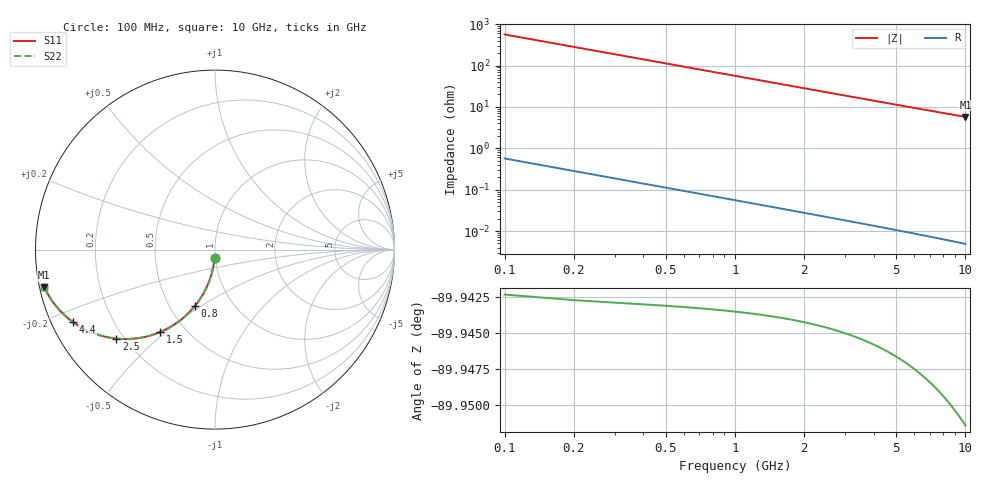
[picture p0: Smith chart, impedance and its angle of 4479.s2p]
# Hz S RI R 50.00
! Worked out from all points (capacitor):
!   100 points, 100 MHz to 10 GHz, reference 50 ohm
!   read as one part in shunt: C = 2.82 pF near 100 MHz
!   lowest |Z| = 5.76 ohm at 10 GHz (marker M1)
!   S11 on the Smith chart (normalised r, x): 100 MHz: 0.99, -0.09; 800 MHz: 0.67, -0.47; 1.5 GHz: 0.36, -0.48; 2.5 GHz: 0.17, -0.37; 4.4 GHz: 0.06, -0.24; 10 GHz: 0.01, -0.11
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1e8  -0.00196 -0.0441  0.998 -0.0442  0.998 -0.0442  -0.00196 -0.0441
2e8  -0.00783 -0.0877  0.9921 -0.0879  0.9921 -0.0879  -0.00783 -0.0877
3e8  -0.0174 -0.1303  0.9825 -0.1306  0.9825 -0.1306  -0.0174 -0.1303
4e8  -0.0305 -0.1714  0.9694 -0.1718  0.9694 -0.1718  -0.0305 -0.1714
5e8  -0.0468 -0.2106  0.9531 -0.2111  0.9531 -0.2111  -0.0468 -0.2106
6e8  -0.0661 -0.2477  0.9339 -0.2482  0.9339 -0.2482  -0.0661 -0.2477
8e8  -0.1116 -0.3141  0.8883 -0.3148  0.8883 -0.3148  -0.1116 -0.3141
9e8  -0.1372 -0.3431  0.8628 -0.344  0.8628 -0.344  -0.1372 -0.3431
1.1e9  -0.1918 -0.3927  0.8081 -0.3938  0.8081 -0.3938  -0.1918 -0.3927
1.3e9  -0.2489 -0.4313  0.751 -0.4325  0.751 -0.4325  -0.2489 -0.4313
1.5e9  -0.306 -0.4596  0.6939 -0.4611  0.6939 -0.4611  -0.306 -0.4596
1.8e9  -0.3883 -0.486  0.6116 -0.4877  0.6116 -0.4877  -0.3883 -0.486
2.1e9  -0.4634 -0.4971  0.5365 -0.4992  0.5365 -0.4992  -0.4634 -0.4971
2.5e9  -0.5503 -0.4957  0.4497 -0.4982  0.4497 -0.4982  -0.5503 -0.4957
2.9e9  -0.622 -0.483  0.3779 -0.4858  0.3779 -0.4858  -0.622 -0.483
3.4e9  -0.6934 -0.4589  0.3066 -0.4622  0.3066 -0.4622  -0.6934 -0.4589
3.9e9  -0.7484 -0.4315  0.2515 -0.4353  0.2515 -0.4353  -0.7484 -0.4315
4.4e9  -0.791 -0.4039  0.2089 -0.4082  0.2089 -0.4082  -0.791 -0.4039
5.1e9  -0.8356 -0.3676  0.1643 -0.3726  0.1643 -0.3726  -0.8356 -0.3676
6.7e9  -0.8976 -0.2992  0.1022 -0.3058  0.1022 -0.3058  -0.8976 -0.2992
8.4e9  -0.9324 -0.2463  0.0675 -0.2546  0.0675 -0.2546  -0.9324 -0.2463
1e10  -0.9514 -0.2095  0.0485 -0.2194  0.0485 -0.2194  -0.9514 -0.2095
